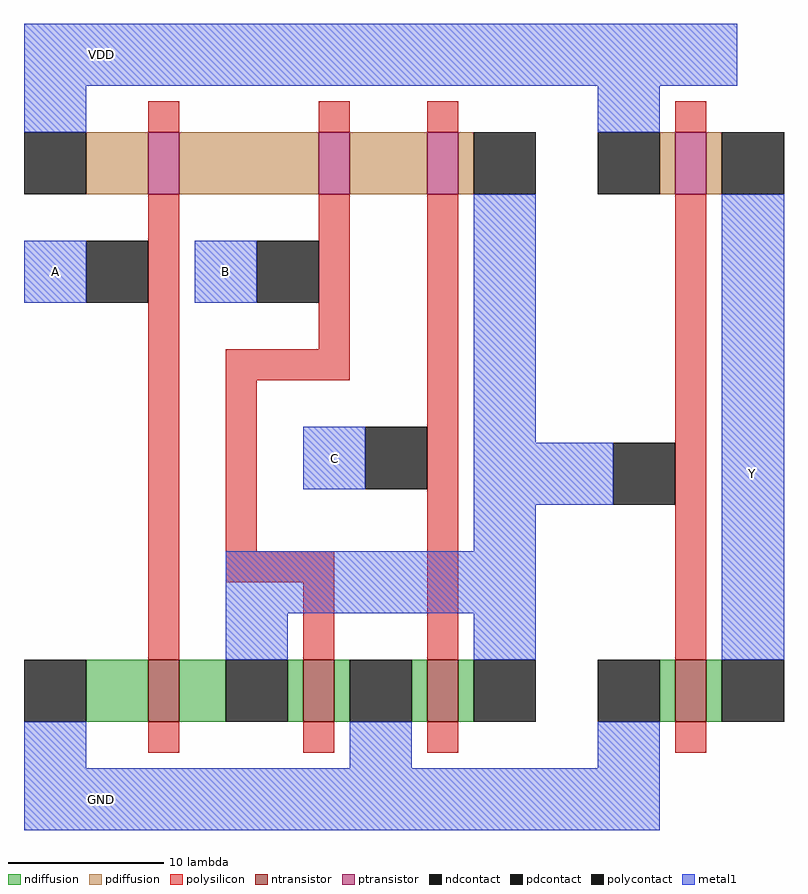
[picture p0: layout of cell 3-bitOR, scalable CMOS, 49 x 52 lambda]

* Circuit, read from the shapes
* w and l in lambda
.subckt 3-bitOR A B C GND VDD Y
M1 n1 A GND VSUBS nfet w=4 l=2
M2 GND B n1 VSUBS nfet w=4 l=2
M3 n1 C GND VSUBS nfet w=4 l=2
M4 Y n1 GND VSUBS nfet w=4 l=2
M5 n2 A VDD NWELL pfet w=4 l=2
M6 n3 B n2 NWELL pfet w=4 l=2
M7 n1 C n3 NWELL pfet w=4 l=2
M8 Y n1 VDD NWELL pfet w=4 l=2
.ends

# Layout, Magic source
magic
tech scmos
<< polysilicon >>
rect 5 4 7 6
rect 16 4 18 6
rect 23 4 25 6
rect 39 4 41 6
rect 5 -30 7 0
rect 16 -10 18 0
rect 10 -12 18 -10
rect 10 -23 12 -12
rect 10 -25 17 -23
rect 15 -30 17 -25
rect 23 -30 25 0
rect 39 -30 41 0
rect 5 -36 7 -34
rect 15 -36 17 -34
rect 23 -36 25 -34
rect 39 -36 41 -34
<< ndiffusion >>
rect 1 -34 5 -30
rect 7 -34 10 -30
rect 14 -34 15 -30
rect 17 -34 18 -30
rect 22 -34 23 -30
rect 25 -34 26 -30
rect 38 -34 39 -30
rect 41 -34 42 -30
<< pdiffusion >>
rect 1 0 5 4
rect 7 0 16 4
rect 18 0 23 4
rect 25 0 26 4
rect 38 0 39 4
rect 41 0 42 4
<< metal1 >>
rect -3 7 43 11
rect -3 4 1 7
rect 34 4 38 7
rect -3 -7 1 -3
rect 8 -7 12 -3
rect 15 -19 19 -15
rect 26 -16 30 0
rect 26 -20 35 -16
rect 26 -23 30 -20
rect 10 -27 30 -23
rect 10 -30 14 -27
rect 26 -30 30 -27
rect 42 -30 46 0
rect -3 -37 1 -34
rect 18 -37 22 -34
rect 34 -37 38 -34
rect -3 -41 38 -37
<< ntransistor >>
rect 5 -34 7 -30
rect 15 -34 17 -30
rect 23 -34 25 -30
rect 39 -34 41 -30
<< ptransistor >>
rect 5 0 7 4
rect 16 0 18 4
rect 23 0 25 4
rect 39 0 41 4
<< polycontact >>
rect 1 -7 5 -3
rect 12 -7 16 -3
rect 19 -19 23 -15
rect 35 -20 39 -16
<< ndcontact >>
rect -3 -34 1 -30
rect 10 -34 14 -30
rect 18 -34 22 -30
rect 26 -34 30 -30
rect 34 -34 38 -30
rect 42 -34 46 -30
<< pdcontact >>
rect -3 0 1 4
rect 26 0 30 4
rect 34 0 38 4
rect 42 0 46 4
<< labels >>
rlabel metal1 2 9 2 9 4 VDD
rlabel metal1 -1 -5 -1 -5 3 A
rlabel metal1 10 -5 10 -5 1 B
rlabel metal1 2 -39 2 -39 2 GND
rlabel metal1 17 -17 17 -17 1 C
rlabel metal1 44 -18 44 -18 7 Y
<< end >>
